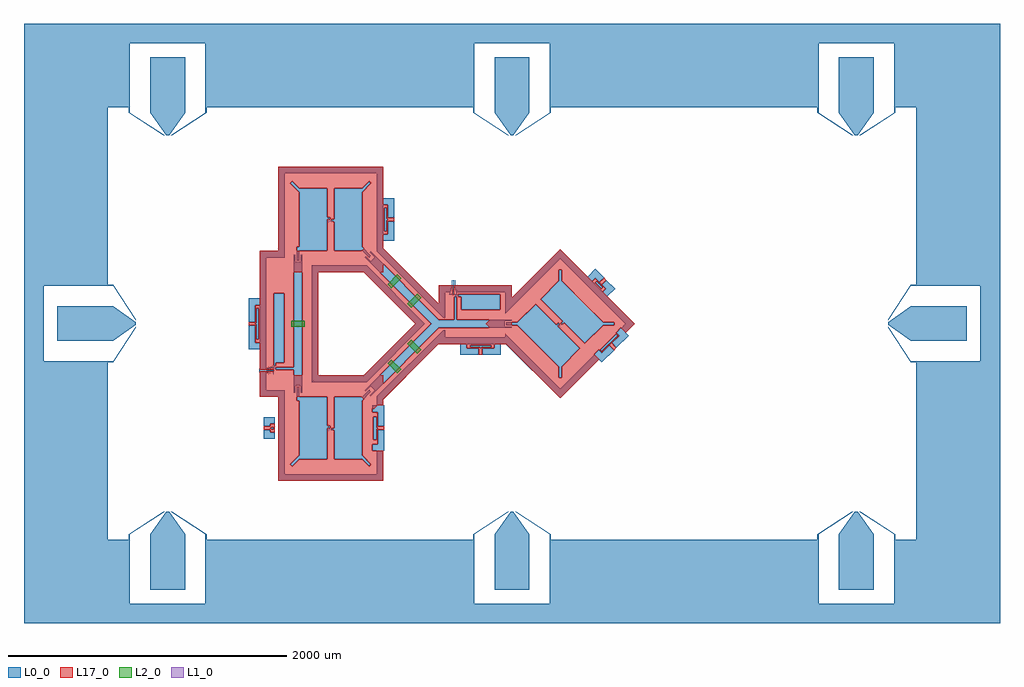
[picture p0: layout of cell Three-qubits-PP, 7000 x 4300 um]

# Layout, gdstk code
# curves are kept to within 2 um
import gdstk
lib = gdstk.Library(unit=1e-6, precision=1e-09)
def R(c, l, rs):  # rectangles x0, y0, x1, y1
    for r in rs: c.add(gdstk.rectangle(r[:2], r[2:], *l))
def P(c, l, *ps):  # polygons
    for p in ps: c.add(gdstk.Polygon(p, *l))
L0_0 = (0, 0)
L1_0 = (1, 0)
L2_0 = (2, 0)
L17_0 = (17, 0)

three_qubits_pp = lib.new_cell('Three-qubits-PP')
P(three_qubits_pp, L0_0, [(1737.5,2623),(1870,2623),(1870,3226),(2530,3226),(2530,2668.255),(3005.255,2193),(3023,2193),(3023,2375.5),(3056.15,2375.5),(3066.5,2410),(3066.5,2423.5),(2975,2423.5),(2975,2291.137),(2578,2688.137),(2578,3274),(1822,3274),(1822,2671),(1689.5,2671),(1689.5,1824.5),(1737.5,1824.5)],
  [(4380.573,2148),(3846,2682.573),(3498,2334.573),(3498,2423.5),(3091.5,2423.5),(3091.5,2410),(3101.85,2375.5),(3450,2375.5),(3450,2218.69),(3846,2614.69),(4312.69,2148),(4282.285,2117.594),(4316.226,2083.653)],
  [(2456.892,1730),(2874.893,2148),(2456.892,2566),(2062.5,2566),(2062.5,1778),(2110.5,1778),(2110.5,2518),(2437.01,2518),(2807.01,2148),(2437.01,1778),(2062.5,1778),(2062.5,1730)],
  [(2578,1607.863),(2975,2004.863),(2975,2002.5),(3456.927,2002.5),(3846,1613.427),(4125.307,1892.734),(4091.366,1926.676),(3846,1681.31),(3450,2077.31),(3450,2050.5),(3023,2050.5),(3023,2103),(3005.255,2103),(2530,1627.745),(2530,1562.6),(2578,1562.6)],
  [(2578,1237.4),(2530,1237.4),(2530,1070),(1870,1070),(1870,1673),(1737.5,1673),(1737.5,1799.5),(1689.5,1799.5),(1689.5,1625),(1822,1625),(1822,1022),(2578,1022)],
  [(7000,0),(7000,4300),(0,4300),(0,1871),(132,1871),(132,2429),(600,2429),(600,3700),(751,3700),(751,4168),(1309,4168),(1309,3700),(3221,3700),(3221,4168),(3779,4168),(3779,3700),(5691,3700),(5691,4168),(6249,4168),(6249,3700),(6400,3700),(6400,2429),(6868,2429),(6868,1871),(6400,1871),(6400,600),(6249,600),(6249,132),(5691,132),(5691,600),(3779,600),(3779,132),(3221,132),(3221,600),(1309,600),(1309,132),(751,132),(751,600),(600,600),(600,1871),(132,1871),(0,1871),(0,0)],
  [(800,2118),(800,2128),(640,1879),(140,1879),(140,2421),(640,2421),(800,2172),(800,2182),(640,2429),(132,2429),(132,1871),(640,1871)],
  [(240,2025),(640,2025),(800,2140),(800,2160),(640,2275),(240,2275)],
  [(6200,2182),(6200,2172),(6360,2421),(6860,2421),(6860,1879),(6360,1879),(6200,2128),(6200,2118),(6360,1871),(6868,1871),(6868,2429),(6360,2429)],
  [(6760,2275),(6360,2275),(6200,2160),(6200,2140),(6360,2025),(6760,2025)],
  [(1062,800),(1052,800),(1301,640),(1301,140),(759,140),(759,640),(1008,800),(998,800),(751,640),(751,132),(1309,132),(1309,640)],
  [(1155,240),(1155,640),(1040,800),(1020,800),(905,640),(905,240)],
  [(998,3500),(1008,3500),(759,3660),(759,4160),(1301,4160),(1301,3660),(1052,3500),(1062,3500),(1309,3660),(1309,4168),(751,4168),(751,3660)],
  [(905,4060),(905,3660),(1020,3500),(1040,3500),(1155,3660),(1155,4060)],
  [(3532,800),(3522,800),(3771,640),(3771,140),(3229,140),(3229,640),(3478,800),(3468,800),(3221,640),(3221,132),(3779,132),(3779,640)],
  [(3625,240),(3625,640),(3510,800),(3490,800),(3375,640),(3375,240)],
  [(3468,3500),(3478,3500),(3229,3660),(3229,4160),(3771,4160),(3771,3660),(3522,3500),(3532,3500),(3779,3660),(3779,4168),(3221,4168),(3221,3660)],
  [(3375,4060),(3375,3660),(3490,3500),(3510,3500),(3625,3660),(3625,4060)],
  [(6002,800),(5992,800),(6241,640),(6241,140),(5699,140),(5699,640),(5948,800),(5938,800),(5691,640),(5691,132),(6249,132),(6249,640)],
  [(6095,240),(6095,640),(5980,800),(5960,800),(5845,640),(5845,240)],
  [(5938,3500),(5948,3500),(5699,3660),(5699,4160),(6241,4160),(6241,3660),(5992,3500),(6002,3500),(6249,3660),(6249,4168),(5691,4168),(5691,3660)],
  [(5845,4060),(5845,3660),(5960,3500),(5980,3500),(6095,3660),(6095,4060)],
  [(1975,1175),(2175,1175),(2175,1400),(2182,1400),(2182,1408),(2187,1408),(2187,1400),(2195,1400),(2195,1416),(2175,1416),(2175,1625),(1975,1625),(1975,1695),(1955,1695),(1955,1595),(1975,1595),(1975,1203.284),(1911.36,1139.645),(1925.503,1125.503)],
  [(2488.64,1139.645),(2425,1203.284),(2425,1596.716),(2488.64,1660.355),(2474.497,1674.497),(2425,1625),(2225,1625),(2225,1400),(2205,1400),(2205,1392),(2213,1392),(2213,1387),(2205,1387),(2205,1384),(2225,1384),(2225,1175),(2425,1175),(2474.497,1125.503)],
  [(2585,1562.6),(2498,1562.6),(2498,1514.6),(2537,1514.6),(2537,1412),(2585,1412)],
  [(2530,1396),(2537,1396),(2537,1404),(2530,1404),(2530,1482.6),(2505,1482.6),(2505,1317.4),(2530,1317.4)],
  [(1767,1430),(1797,1430),(1797,1478),(1719,1478),(1719,1412),(1767,1412)],
  [(1790,1407),(1774,1407),(1774,1404),(1767,1404),(1767,1396),(1774,1396),(1774,1393),(1790,1393)],
  [(2585,1388),(2537,1388),(2537,1285.4),(2498,1285.4),(2498,1237.4),(2585,1237.4)],
  [(1797,1370),(1767,1370),(1767,1388),(1719,1388),(1719,1322),(1797,1322)],
  [(2488.64,2635.645),(2425,2699.284),(2425,3092.716),(2488.64,3156.355),(2474.497,3170.497),(2425,3121),(2225,3121),(2225,2896),(2205,2896),(2205,2888),(2213,2888),(2213,2883),(2205,2883),(2205,2880),(2225,2880),(2225,2671),(2425,2671),(2474.497,2621.503)],
  [(1975,2671),(2175,2671),(2175,2896),(2182,2896),(2182,2904),(2187,2904),(2187,2896),(2195,2896),(2195,2912),(2175,2912),(2175,3121),(1975,3121),(1925.503,3170.497),(1911.36,3156.355),(1975,3092.716),(1975,2701),(1955,2701),(1955,2601),(1975,2601)],
  [(2656,3049.6),(2578,3049.6),(2578,3001.6),(2608,3001.6),(2608,2908),(2656,2908)],
  [(2601,2892),(2608,2892),(2608,2900),(2601,2900),(2601,2978.6),(2585,2978.6),(2585,2813.4),(2601,2813.4)],
  [(2656,2884),(2608,2884),(2608,2790.4),(2578,2790.4),(2578,2742.4),(2656,2742.4)],
  [(4234.198,2158.001),(4154.198,2158),(3856,2456.198),(3856.001,2536.198),(3835.999,2536.198),(3836,2456.198),(3704.579,2324.777),(3863.678,2165.678),(3849.536,2151.536),(3855.192,2145.879),(3860.849,2151.536),(3864.385,2148),(3858.728,2142.343),(3860.849,2140.222),(3874.991,2154.364),(4022.777,2006.579),(4154.198,2138),(4234.198,2137.999)],
  [(3856,1839.802),(3987.421,1971.223),(3828.322,2130.322),(3833.272,2135.272),(3827.615,2140.929),(3831.151,2144.464),(3836.808,2138.808),(3842.464,2144.464),(3831.151,2155.778),(3817.009,2141.636),(3669.223,2289.421),(3537.802,2158),(3457.802,2158.001),(3457.802,2137.999),(3537.802,2138),(3836,1839.802),(3835.999,1759.802),(3856.001,1759.802)],
  [(4097.249,2541.632),(4042.095,2486.478),(4076.036,2452.537),(4097.249,2473.75),(4126.014,2444.985),(4159.955,2478.926)],
  [(4132.378,2428.721),(4137.328,2433.671),(4131.671,2439.328),(4126.721,2434.378),(4108.563,2452.537),(4097.249,2441.223),(4139.223,2399.249),(4150.537,2410.563)],
  [(4176.926,2461.955),(4142.985,2428.014),(4171.75,2399.249),(4150.537,2378.036),(4184.478,2344.095),(4239.632,2399.249)],
  [(4198.139,1993.851),(4145.106,1940.818),(4123.893,1962.031),(4089.952,1928.09),(4145.106,1872.935),(4232.08,1959.91)],
  [(4280.871,2119.009),(4246.93,2085.067),(4268.143,2063.854),(4215.11,2010.821),(4249.051,1976.88),(4336.025,2063.854)],
  [(4204.503,2010.114),(4258.243,2063.854),(4246.93,2075.168),(4133.792,1962.031),(4145.106,1950.717),(4198.846,2004.457),(4203.796,1999.508),(4209.453,2005.164)],
  [(1985,2593),(1945,2593),(1945,2643),(1935,2643),(1935,1836),(1806,1836),(1806,1820),(1935,1820),(1935,1653),(1945,1653),(1945,1703),(1985,1703),(1985,1653),(1995,1653),(1995,2643),(1985,2643)],
  [(1738,1824.5),(1688,1824.5),(1688,1821.5),(1738,1821.5),(1788,1836.5),(1788,1816.5),(1688,1816.5),(1688,1807.5),(1788,1807.5),(1788,1787.5),(1738,1802.5),(1688,1802.5),(1688,1799.5),(1738,1799.5),(1788,1784.5),(1791,1784.5),(1791,1839.5),(1788,1839.5)],
  [(1790,1846),(1806,1846),(1806,1868),(1865,1868),(1865,2368),(1790,2368)],
  [(1611.5,1965.4),(1689.5,1965.4),(1689.5,2013.4),(1659.5,2013.4),(1659.5,2136),(1611.5,2136)],
  [(1666.5,2152),(1659.5,2152),(1659.5,2144),(1666.5,2144),(1666.5,2036.4),(1682.5,2036.4),(1682.5,2259.6),(1666.5,2259.6)],
  [(1611.5,2160),(1659.5,2160),(1659.5,2282.6),(1689.5,2282.6),(1689.5,2330.6),(1611.5,2330.6)],
  [(3447,2128),(3447,2168),(3497,2168),(3497,2178),(3103,2178),(3103,2342),(3087,2342),(3087,2178),(2975,2178),(2485.682,2667.318),(2478.611,2660.247),(2513.966,2624.891),(2485.682,2596.607),(2450.327,2631.963),(2443.256,2624.891),(2920.148,2148),(2443.256,1671.109),(2450.327,1664.037),(2485.682,1699.393),(2513.966,1671.109),(2478.611,1635.753),(2485.682,1628.682),(2975,2118),(3497,2118),(3497,2128)],
  [(3091.5,2410),(3091.5,2460),(3088.5,2460),(3088.5,2410),(3103.5,2360),(3083.5,2360),(3083.5,2460),(3074.5,2460),(3074.5,2360),(3054.5,2360),(3069.5,2410),(3069.5,2460),(3066.5,2460),(3066.5,2410),(3051.5,2360),(3051.5,2357),(3106.5,2357),(3106.5,2360)],
  [(3113,2358),(3113,2342),(3135,2342),(3135,2248),(3415,2248),(3415,2358)],
  [(3177.01,1972.5),(3177.01,2002.5),(3129.01,2002.5),(3129.01,1924.5),(3263,1924.5),(3263,1972.5)],
  [(3200.01,1995.5),(3200.01,1979.5),(3271,1979.5),(3271,1972.5),(3279,1972.5),(3279,1979.5),(3349.99,1979.5),(3349.99,1995.5)],
  [(3372.99,2002.5),(3372.99,1972.5),(3287,1972.5),(3287,1924.5),(3420.99,1924.5),(3420.99,2002.5)])
P(three_qubits_pp, L1_0, [(2180.5,1388.606),(2180.5,1388.394),(2185.394,1388.394),(2185.394,1375.5),(2185.606,1375.5),(2185.606,1388.394),(2200.5,1388.394),(2200.5,1387.5),(2212.5,1387.5),(2212.5,1389.5),(2200.5,1389.5),(2200.5,1388.606),(2185.606,1388.606),(2185.606,1395.5),(2186.5,1395.5),(2186.5,1407.5),(2184.5,1407.5),(2184.5,1395.5),(2185.394,1395.5),(2185.394,1388.606)],
  [(2180.5,2884.606),(2180.5,2884.394),(2185.394,2884.394),(2185.394,2871.5),(2185.606,2871.5),(2185.606,2884.394),(2200.5,2884.394),(2200.5,2883.5),(2212.5,2883.5),(2212.5,2885.5),(2200.5,2885.5),(2200.5,2884.606),(2185.606,2884.606),(2185.606,2891.5),(2186.5,2891.5),(2186.5,2903.5),(2184.5,2903.5),(2184.5,2891.5),(2185.394,2891.5),(2185.394,2884.606)],
  [(3840.268,2126.155),(3840.418,2126.005),(3843.879,2129.465),(3852.996,2120.348),(3853.146,2120.498),(3844.029,2129.615),(3854.56,2140.147),(3855.192,2139.515),(3863.678,2148),(3862.263,2149.414),(3853.778,2140.929),(3854.41,2140.297),(3843.879,2129.765),(3839.004,2134.64),(3839.636,2135.272),(3831.151,2143.757),(3829.737,2142.343),(3838.222,2133.858),(3838.854,2134.49),(3843.729,2129.615)],
  [(1797.788,1830.773),(1795,1830.773),(1795,1830.561),(1797.788,1830.561),(1797.788,1825.439),(1795,1825.439),(1795,1825.227),(1797.788,1825.227),(1797.788,1821),(1798,1821),(1798,1825.227),(1806,1825.227),(1806,1825.439),(1798,1825.439),(1798,1830.561),(1806,1830.561),(1806,1830.773),(1798,1830.773),(1798,1846),(1797.788,1846)],
  [(3097.773,2350.212),(3097.773,2353),(3097.561,2353),(3097.561,2350.212),(3092.439,2350.212),(3092.439,2353),(3092.227,2353),(3092.227,2350.212),(3088,2350.212),(3088,2350),(3092.227,2350),(3092.227,2342),(3092.439,2342),(3092.439,2350),(3097.561,2350),(3097.561,2342),(3097.773,2342),(3097.773,2350),(3113,2350),(3113,2350.212)])
R(three_qubits_pp, L2_0, [(1915,2128,2015,2168)])
P(three_qubits_pp, L2_0, [(2635.589,1891.726),(2607.304,1863.442),(2678.015,1792.731),(2706.299,1821.015)],
  [(2678.015,2503.269),(2607.304,2432.558),(2635.589,2404.274),(2706.299,2474.985)],
  [(2777.01,2033.147),(2748.726,2004.863),(2819.437,1934.152),(2847.721,1962.437)],
  [(2819.437,2361.848),(2748.726,2291.137),(2777.01,2262.853),(2847.721,2333.563)])
P(three_qubits_pp, L17_0, [(2578,1778),(1822,1778),(1822,1139.645),(1911.36,1139.645),(1975,1203.284),(1975,1595),(1955,1595),(1955,1695),(1975,1695),(1975,1625),(2175,1625),(2175,1416),(2195,1416),(2195,1400),(2187,1400),(2187,1408),(2182,1408),(2182,1400),(2175,1400),(2175,1384),(2205,1384),(2205,1387),(2213,1387),(2213,1392),(2205,1392),(2205,1400),(2225,1400),(2225,1625),(2425,1625),(2474.497,1674.497),(2488.64,1660.355),(2425,1596.716),(2425,1317.4),(2505,1317.4),(2505,1482.6),(2530,1482.6),(2530,1404),(2537,1404),(2537,1396),(2530,1396),(2530,1317.4),(2425,1317.4),(2425,1203.284),(2488.64,1139.645),(2474.497,1125.503),(2425,1175),(2225,1175),(2225,1384),(2175,1384),(2175,1175),(1975,1175),(1925.503,1125.503),(1911.36,1139.645),(1822,1139.645),(1822,1022),(2578,1022),(2578,1237.4),(2498,1237.4),(2498,1285.4),(2537,1285.4),(2537,1388),(2585,1388),(2585,1412),(2537,1412),(2537,1514.6),(2498,1514.6),(2498,1562.6),(2578,1562.6)],
  [(1767,1430),(1767,1412),(1719,1412),(1719,1396),(1767,1396),(1767,1404),(1774,1404),(1774,1407),(1790,1407),(1790,1393),(1774,1393),(1774,1396),(1767,1396),(1719,1396),(1719,1388),(1767,1388),(1767,1370),(1797,1370),(1797,1430)],
  [(2608,2790.4),(2608,2884),(2656,2884),(2656,2908),(2608,2908),(2608,3001.6),(2578,3001.6),(2578,3274),(1822,3274),(1822,3156.355),(1911.36,3156.355),(1925.503,3170.497),(1975,3121),(2175,3121),(2175,2912),(2195,2912),(2195,2896),(2187,2896),(2187,2904),(2182,2904),(2182,2896),(2175,2896),(2175,2880),(2205,2880),(2205,2883),(2213,2883),(2213,2888),(2205,2888),(2205,2896),(2225,2896),(2225,3121),(2425,3121),(2474.497,3170.497),(2488.64,3156.355),(2425,3092.716),(2425,2813.4),(2585,2813.4),(2585,2978.6),(2601,2978.6),(2601,2900),(2608,2900),(2608,2892),(2601,2892),(2601,2813.4),(2425,2813.4),(2425,2699.284),(2488.64,2635.645),(2474.497,2621.503),(2425,2671),(2225,2671),(2225,2880),(2175,2880),(2175,2671),(1975,2671),(1975,2601),(1955,2601),(1955,2701),(1975,2701),(1975,3092.716),(1911.36,3156.355),(1822,3156.355),(1822,2518),(2578,2518),(2578,2790.4)],
  [(4150.537,2378.036),(4171.75,2399.249),(4142.985,2428.014),(4176.926,2461.955),(4159.955,2478.926),(4126.014,2444.985),(4097.249,2473.75),(4076.036,2452.537),(3846,2682.573),(3311.427,2148),(3767.812,1691.615),(3835.999,1759.802),(3836,1839.802),(3537.802,2138),(3457.802,2137.999),(3457.802,2158.001),(3537.802,2158),(3669.223,2289.421),(3817.009,2141.636),(3831.151,2155.778),(3842.464,2144.464),(3836.808,2138.808),(3831.151,2144.464),(3827.615,2140.929),(3833.272,2135.272),(3828.322,2130.322),(3839.636,2119.009),(3860.849,2140.222),(3858.728,2142.343),(3864.385,2148),(3860.849,2151.536),(3855.192,2145.879),(3849.536,2151.536),(3863.678,2165.678),(3704.579,2324.777),(3836,2456.198),(3835.999,2536.198),(3856.001,2536.198),(3856,2456.198),(4026.086,2286.112),(4139.223,2399.249),(4097.249,2441.223),(4108.563,2452.537),(4126.721,2434.378),(4131.671,2439.328),(4137.328,2433.671),(4132.378,2428.721),(4150.537,2410.563),(4026.086,2286.112),(4154.198,2158),(4234.198,2158.001),(4234.198,2137.999),(4154.198,2138),(4022.777,2006.579),(3874.991,2154.364),(3839.636,2119.009),(3987.421,1971.223),(3856,1839.802),(3856.001,1759.802),(3835.999,1759.802),(3767.812,1691.615),(3846,1613.427),(4125.307,1892.734),(4089.952,1928.09),(4123.893,1962.031),(4140.156,1945.767),(4145.106,1950.717),(4133.792,1962.031),(4246.93,2075.168),(4258.243,2063.854),(4204.503,2010.114),(4209.453,2005.164),(4203.796,1999.508),(4198.846,2004.457),(4140.156,1945.767),(4145.106,1940.818),(4198.139,1993.851),(4232.08,1959.91),(4249.051,1976.88),(4215.11,2010.821),(4268.143,2063.854),(4246.93,2085.067),(4280.871,2119.009),(4316.226,2083.653),(4380.573,2148)],
  [(1659.5,2282.6),(1659.5,2160),(1611.5,2160),(1611.5,2136),(1659.5,2136),(1659.5,2013.4),(1689.5,2013.4),(1689.5,1824.5),(1738,1824.5),(1791,1839.5),(1791,1784.5),(1738,1799.5),(1689.5,1799.5),(1689.5,1625),(2110.5,1625),(2110.5,2643),(1995,2643),(1995,1653),(1985,1653),(1985,1703),(1945,1703),(1945,1653),(1935,1653),(1935,1820),(1806,1820),(1806,1836),(1935,1836),(1935,2368),(1865,2368),(1865,1868),(1806,1868),(1806,1846),(1790,1846),(1790,2259.6),(1682.5,2259.6),(1682.5,2036.4),(1666.5,2036.4),(1666.5,2144),(1659.5,2144),(1659.5,2152),(1666.5,2152),(1666.5,2259.6),(1790,2259.6),(1790,2368),(1935,2368),(1935,2643),(1945,2643),(1945,2593),(1985,2593),(1985,2643),(2110.5,2643),(2110.5,2671),(1689.5,2671),(1689.5,2282.6)],
  [(1689.5,1802.5),(1738,1802.5),(1788,1787.5),(1788,1807.5),(1689.5,1807.5)],
  [(1689.5,1821.5),(1689.5,1816.5),(1788,1816.5),(1788,1836.5),(1738,1821.5)],
  [(3069.5,2423.5),(3069.5,2410),(3054.5,2360),(3074.5,2360),(3074.5,2423.5)],
  [(3088.5,2423.5),(3083.5,2423.5),(3083.5,2360),(3103.5,2360),(3088.5,2410)],
  [(3177.01,1972.5),(3263,1972.5),(3263,1924.5),(3279,1924.5),(3279,1972.5),(3271,1972.5),(3271,1979.5),(3200.01,1979.5),(3200.01,1995.5),(3349.99,1995.5),(3349.99,1979.5),(3279,1979.5),(3279,1924.5),(3287,1924.5),(3287,1972.5),(3372.99,1972.5),(3372.99,2002.5),(3498,2002.5),(3498,2423.5),(3091.5,2423.5),(3091.5,2410),(3106.5,2357),(3051.5,2357),(3066.5,2410),(3066.5,2423.5),(2975,2423.5),(2975,2291.137),(2506.895,2759.242),(2351.332,2603.678),(2807.01,2148),(2351.332,1692.322),(2485.682,1557.971),(2485.682,1628.682),(2478.611,1635.753),(2513.966,1671.109),(2485.682,1699.393),(2450.327,1664.037),(2443.256,1671.109),(2920.148,2148),(2443.256,2624.891),(2450.327,2631.963),(2485.682,2596.607),(2513.966,2624.891),(2478.611,2660.247),(2485.682,2667.318),(2975,2178),(3087,2178),(3087,2342),(3103,2342),(3103,2178),(3415,2178),(3415,2248),(3135,2248),(3135,2342),(3113,2342),(3113,2358),(3415,2358),(3415,2178),(3497,2178),(3497,2168),(3447,2168),(3447,2128),(3497,2128),(3497,2118),(2975,2118),(2485.682,1628.682),(2485.682,1557.971),(2506.895,1536.758),(2975,2004.863),(2975,2002.5),(3177.01,2002.5)])

lib.write_gds('Three-qubits-PP.gds')
